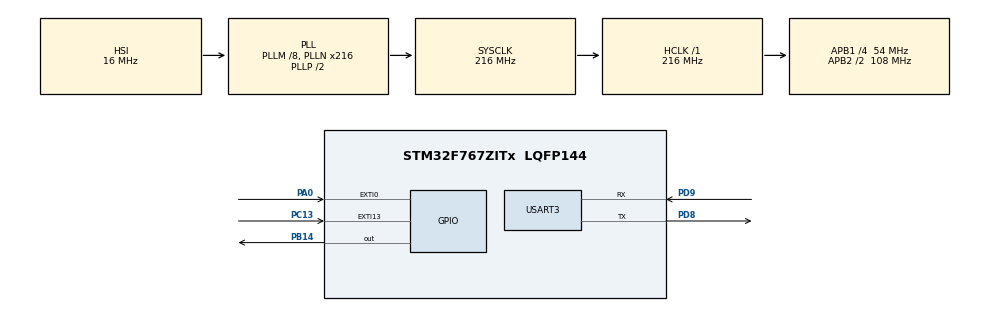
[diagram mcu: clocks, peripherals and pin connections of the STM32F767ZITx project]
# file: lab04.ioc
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CORTEX_M7.default_mode_Activation=1
Mcu.Family=STM32F7
Mcu.Name=STM32F767ZITx
Mcu.Package=LQFP144
NVIC.EXTI0_IRQn=true\:2\:3\:true\:false\:true\:true\:true\:true
NVIC.EXTI15_10_IRQn=true\:3\:1\:true\:false\:true\:true\:true\:true
NVIC.PriorityGroup=NVIC_PRIORITYGROUP_2
PA0/WKUP.Signal=GPXTI0
PB14.Signal=GPIO_Output
PC13.GPIO_ModeDefaultEXTI=GPIO_MODE_IT_RISING
PC13.Signal=GPXTI13
PD8.Mode=Asynchronous
PD8.Signal=USART3_TX
PD9.Mode=Asynchronous
PD9.Signal=USART3_RX
ProjectManager.HeapSize=0x200
ProjectManager.StackSize=0x400
ProjectManager.TargetToolchain=STM32CubeIDE
RCC.AHBFreq_Value=216000000
RCC.APB1CLKDivider=RCC_HCLK_DIV4
RCC.APB1Freq_Value=54000000
RCC.APB1TimFreq_Value=108000000
RCC.APB2CLKDivider=RCC_HCLK_DIV2
RCC.APB2Freq_Value=108000000
RCC.APB2TimFreq_Value=216000000
RCC.CortexFreq_Value=216000000
RCC.HCLKFreq_Value=216000000
RCC.HSE_VALUE=25000000
RCC.HSI_VALUE=16000000
RCC.LSE_VALUE=32768
RCC.PLLM=8
RCC.PLLN=216
RCC.SYSCLKFreq_VALUE=216000000
RCC.SYSCLKSource=RCC_SYSCLKSOURCE_PLLCLK
RCC.USBFreq_Value=216000000
RCC.VCOOutputFreq_Value=432000000
USART3.VirtualMode-Asynchronous=VM_ASYNC
board=custom

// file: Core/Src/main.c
/* USER CODE BEGIN Header */
/**
  ******************************************************************************
  * @file           : main.c
  * @brief          : Main program body
  ******************************************************************************
  * @attention
  *
  * Copyright (c) 2025 STMicroelectronics.
  * All rights reserved.
  *
  * This software is licensed under terms that can be found in the LICENSE file
  * in the root directory of this software component.
  * If no LICENSE file comes with this software, it is provided AS-IS.
  *
  ******************************************************************************
  */
/* USER CODE END Header */
#include "main.h"
#include "usart.h"
#include "gpio.h"

/* USER CODE BEGIN PV */
volatile uint32_t lastTickButton13 = 0;
volatile uint32_t lastTickButton0 = 0;
/* USER CODE END PV */

void SystemClock_Config(void);
static void MPU_Config(void);

int main(void)
{

  /* MPU Configuration--------------------------------------------------------*/
  MPU_Config();

  /* MCU Configuration--------------------------------------------------------*/

  /* Reset of all peripherals, Initializes the Flash interface and the Systick. */
  HAL_Init();

  /* Configure the system clock */
  SystemClock_Config();

  /* Initialize all configured peripherals */
  MX_GPIO_Init();
  MX_USART3_UART_Init();

  /* Infinite loop */
  while (1)
  {

    /* USER CODE BEGIN 3 */
	while(__HAL_UART_GET_FLAG(&huart3, UART_FLAG_TC) == RESET){}
	HAL_UART_Transmit(&huart3, (uint8_t *)".", 1, 100);
	HAL_Delay(400);
  }
  /* USER CODE END 3 */
}

void SystemClock_Config(void)
{
  RCC_OscInitTypeDef RCC_OscInitStruct = {0};
  RCC_ClkInitTypeDef RCC_ClkInitStruct = {0};

  /** Configure the main internal regulator output voltage
  */
  __HAL_RCC_PWR_CLK_ENABLE();
  __HAL_PWR_VOLTAGESCALING_CONFIG(PWR_REGULATOR_VOLTAGE_SCALE1);

  /** Initializes the RCC Oscillators according to the specified parameters
  * in the RCC_OscInitTypeDef structure.
  */
  RCC_OscInitStruct.OscillatorType = RCC_OSCILLATORTYPE_HSI;
  RCC_OscInitStruct.HSIState = RCC_HSI_ON;
  RCC_OscInitStruct.HSICalibrationValue = RCC_HSICALIBRATION_DEFAULT;
  RCC_OscInitStruct.PLL.PLLState = RCC_PLL_ON;
  RCC_OscInitStruct.PLL.PLLSource = RCC_PLLSOURCE_HSI;
  RCC_OscInitStruct.PLL.PLLM = 8;
  RCC_OscInitStruct.PLL.PLLN = 216;
  RCC_OscInitStruct.PLL.PLLP = RCC_PLLP_DIV2;
  RCC_OscInitStruct.PLL.PLLQ = 2;
  RCC_OscInitStruct.PLL.PLLR = 2;
  if (HAL_RCC_OscConfig(&RCC_OscInitStruct) != HAL_OK)
  {
    Error_Handler();
  }

  /** Activate the Over-Drive mode
  */
  if (HAL_PWREx_EnableOverDrive() != HAL_OK)
  {
    Error_Handler();
  }

  /** Initializes the CPU, AHB and APB buses clocks
  */
  RCC_ClkInitStruct.ClockType = RCC_CLOCKTYPE_HCLK|RCC_CLOCKTYPE_SYSCLK
                              |RCC_CLOCKTYPE_PCLK1|RCC_CLOCKTYPE_PCLK2;
  RCC_ClkInitStruct.SYSCLKSource = RCC_SYSCLKSOURCE_PLLCLK;
  RCC_ClkInitStruct.AHBCLKDivider = RCC_SYSCLK_DIV1;
  RCC_ClkInitStruct.APB1CLKDivider = RCC_HCLK_DIV4;
  RCC_ClkInitStruct.APB2CLKDivider = RCC_HCLK_DIV2;

  if (HAL_RCC_ClockConfig(&RCC_ClkInitStruct, FLASH_LATENCY_7) != HAL_OK)
  {
    Error_Handler();
  }
}

/* USER CODE BEGIN 4 */
void HAL_GPIO_EXTI_Callback(uint16_t GPIO_Pin)
{
    uint32_t now = HAL_GetTick();

    if(GPIO_Pin == GPIO_PIN_13)
    {
        if(now - lastTickButton13 > 200)
        {
            lastTickButton13 = now;
            HAL_UART_Transmit(&huart3, (uint8_t *)"---", 3, 100);
            HAL_Delay(200);

            for(int i = 0; i<20; i++)
            {
                HAL_UART_Transmit(&huart3, (uint8_t *)"B", 1, 100);
                HAL_Delay(200);
            }
        }
    }
    else if(GPIO_Pin == GPIO_PIN_0)
    {
        if(now - lastTickButton0 > 200)
        {
            lastTickButton0 = now;

            HAL_GPIO_TogglePin(GPIOB, GPIO_PIN_14);
            HAL_UART_Transmit(&huart3, (uint8_t *)"---", 3, 100);
            HAL_Delay(200);

            for(int i = 0; i<20; i++)
            {
                HAL_UART_Transmit(&huart3, (uint8_t *)"E", 1, 100);
                HAL_Delay(200);
            }
        }
    }
}
/* USER CODE END 4 */

 /* MPU Configuration */

void MPU_Config(void)
{
  MPU_Region_InitTypeDef MPU_InitStruct = {0};

  /* Disables the MPU */
  HAL_MPU_Disable();

  /** Initializes and configures the Region and the memory to be protected
  */
  MPU_InitStruct.Enable = MPU_REGION_ENABLE;
  MPU_InitStruct.Number = MPU_REGION_NUMBER0;
  MPU_InitStruct.BaseAddress = 0x0;
  MPU_InitStruct.Size = MPU_REGION_SIZE_4GB;
  MPU_InitStruct.SubRegionDisable = 0x87;
  MPU_InitStruct.TypeExtField = MPU_TEX_LEVEL0;
  MPU_InitStruct.AccessPermission = MPU_REGION_NO_ACCESS;
  MPU_InitStruct.DisableExec = MPU_INSTRUCTION_ACCESS_DISABLE;
  MPU_InitStruct.IsShareable = MPU_ACCESS_SHAREABLE;
  MPU_InitStruct.IsCacheable = MPU_ACCESS_NOT_CACHEABLE;
  MPU_InitStruct.IsBufferable = MPU_ACCESS_NOT_BUFFERABLE;

  HAL_MPU_ConfigRegion(&MPU_InitStruct);
  /* Enables the MPU */
  HAL_MPU_Enable(MPU_PRIVILEGED_DEFAULT);

}

void Error_Handler(void)
{
  __disable_irq();
  while (1)
  {
  }
}
